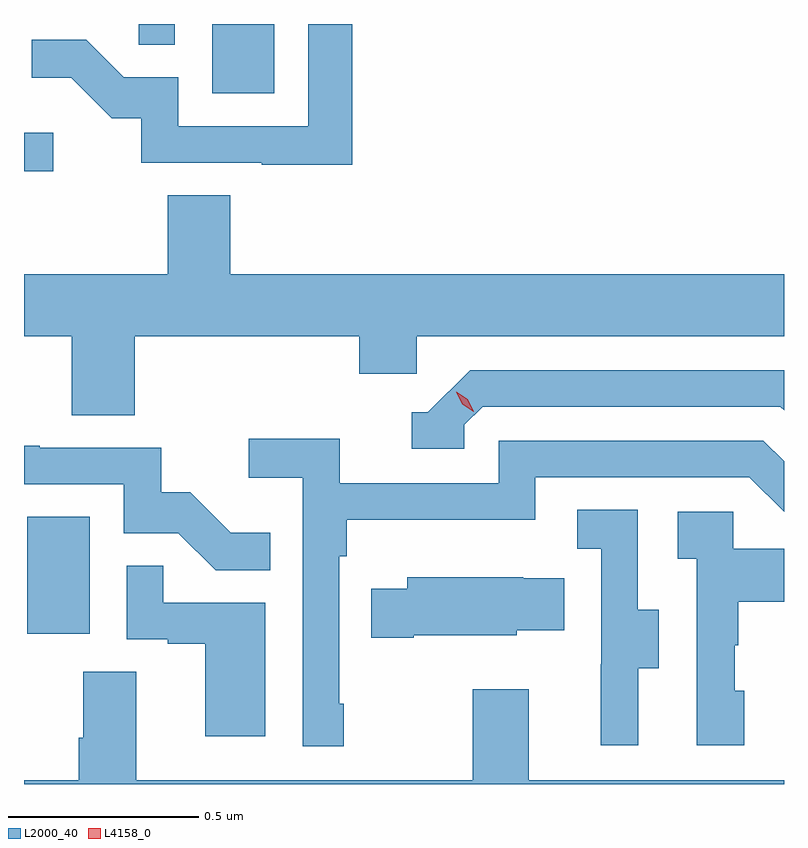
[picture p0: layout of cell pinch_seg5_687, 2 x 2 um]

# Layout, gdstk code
import gdstk
lib = gdstk.Library(unit=1e-6, precision=1e-09)
def R(c, l, rs):  # rectangles x0, y0, x1, y1
    for r in rs: c.add(gdstk.rectangle(r[:2], r[2:], *l))
def P(c, l, *ps):  # polygons
    for p in ps: c.add(gdstk.Polygon(p, *l))
L2000_40 = (2000, 40)
L4158_0 = (4158, 0)

pinch_seg5_687 = lib.new_cell('pinch_seg5_687')
R(pinch_seg5_687, L2000_40, [(1129.688,841.326,1129.852,841.633), (1129.679,842.542,1129.756,842.644), (1130.174,842.748,1130.338,842.93), (1129.981,842.875,1130.076,842.93)])
P(pinch_seg5_687, L2000_40, [(1130.543,842.93),(1130.427,842.93),(1130.427,842.661),(1130.085,842.661),(1130.085,842.79),(1129.941,842.79),(1129.843,842.888),(1129.699,842.888),(1129.699,842.789),(1129.803,842.789),(1129.91,842.682),(1129.987,842.682),(1129.987,842.565),(1130.305,842.565),(1130.305,842.56),(1130.543,842.56)],
  [(1129.97,842.108),(1130.561,842.108),(1130.561,842.01),(1130.712,842.01),(1130.712,842.108),(1131.679,842.108),(1131.679,842.272),(1130.222,842.272),(1130.222,842.48),(1130.057,842.48),(1130.057,842.272),(1129.679,842.272),(1129.679,842.108),(1129.805,842.108),(1129.805,841.9),(1129.97,841.9)],
  [(1130.838,841.875),(1130.886,841.923),(1131.669,841.923),(1131.679,841.913),(1131.679,842.019),(1130.853,842.019),(1130.742,841.908),(1130.699,841.908),(1130.699,841.812),(1130.838,841.812)],
  [(1130.521,841.141),(1130.508,841.141),(1130.508,841.529),(1130.528,841.529),(1130.528,841.625),(1131.024,841.625),(1131.024,841.737),(1131.588,841.737),(1131.679,841.646),(1131.679,841.779),(1131.625,841.833),(1130.928,841.833),(1130.928,841.722),(1130.51,841.722),(1130.51,841.838),(1130.271,841.838),(1130.271,841.736),(1130.412,841.736),(1130.412,841.029),(1130.521,841.029)],
  [(1130.327,841.591),(1130.223,841.591),(1130.116,841.698),(1130.04,841.698),(1130.04,841.815),(1129.721,841.815),(1129.721,841.82),(1129.679,841.82),(1129.679,841.719),(1129.941,841.719),(1129.941,841.59),(1130.085,841.59),(1130.183,841.492),(1130.327,841.492)],
  [(1131.295,841.234),(1131.349,841.234),(1131.349,841.389),(1131.294,841.389),(1131.294,841.652),(1131.135,841.652),(1131.135,841.549),(1131.198,841.549),(1131.198,841.245),(1131.197,841.245),(1131.197,841.032),(1131.295,841.032)],
  [(1131.574,841.176),(1131.549,841.176),(1131.549,841.295),(1131.559,841.295),(1131.559,841.409),(1131.679,841.409),(1131.679,841.549),(1131.546,841.549),(1131.546,841.647),(1131.399,841.647),(1131.399,841.523),(1131.45,841.523),(1131.45,841.032),(1131.574,841.032)],
  [(1130.314,841.407),(1130.045,841.407),(1130.045,841.505),(1129.95,841.505),(1129.95,841.311),(1130.057,841.311),(1130.057,841.299),(1130.156,841.299),(1130.156,841.056),(1130.314,841.056)],
  [(1130.704,841.322),(1130.976,841.322),(1130.976,841.334),(1131.101,841.334),(1131.101,841.471),(1130.993,841.471),(1130.993,841.474),(1130.687,841.474),(1130.687,841.444),(1130.593,841.444),(1130.593,841.315),(1130.704,841.315)],
  [(1131.679,840.94),(1131.007,840.94),(1131.007,841.18),(1130.86,841.18),(1130.86,840.94),(1129.975,840.94),(1129.975,841.226),(1129.835,841.226),(1129.835,841.052),(1129.823,841.052),(1129.823,840.94),(1129.679,840.94),(1129.679,840.93),(1131.679,840.93)])
P(pinch_seg5_687, L4158_0, [(1130.862,841.909),(1130.832,841.929),(1130.816,841.962),(1130.816,841.962),(1130.816,841.962),(1130.847,841.942),(1130.862,841.91),(1130.862,841.909)])

lib.write_gds('pinch_seg5_687.gds')
